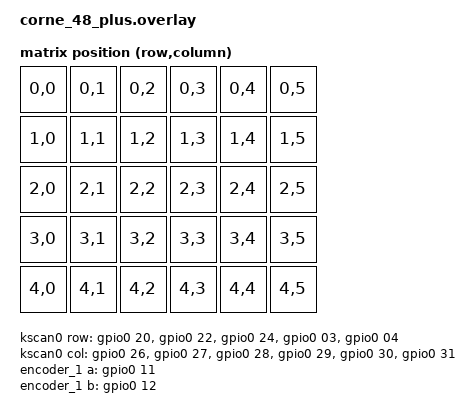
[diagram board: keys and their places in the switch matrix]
/*
 * Copyright (c) 2023 Your Name
 *
 * SPDX-License-Identifier: MIT
 */

#include <dt-bindings/zmk/matrix.h>
#include <dt-bindings/zmk/hid.h>
#include <dt-bindings/zmk/keys.h>
#include <dt-bindings/zmk/outputs.h> // For &out_bt &out_usb etc.
#include <dt-bindings/zmk/backlight.h> // For backlight behaviors like &bl_inc, &bl_dec, &bl_tog

/ {
    chosen {
        zmk,kscan = &kscan0;
        zmk,matrix_transform = &default_transform;
    };

    kscan0: kscan {
        compatible = "zmk,kscan-gpio-matrix";
        // Điều chỉnh diode-direction dựa trên PCB của bạn (COL2ROW hoặc ROW2COL)
        diode-direction = "col2row";

        // Các chân GPIO của nice!nano v2 (nRF52840)
        // Hãy chắc chắn rằng các chân này khớp với cách Corne Plus của bạn được nối dây
        col-gpios = <&gpio0 26 GPIO_ACTIVE_HIGH>, // P0.26 (Corne COL0)
                    <&gpio0 27 GPIO_ACTIVE_HIGH>, // P0.27 (Corne COL1)
                    <&gpio0 28 GPIO_ACTIVE_HIGH>, // P0.28 (Corne COL2)
                    <&gpio0 29 GPIO_ACTIVE_HIGH>, // P0.29 (Corne COL3)
                    <&gpio0 30 GPIO_ACTIVE_HIGH>, // P0.30 (Corne COL4)
                    <&gpio0 31 GPIO_ACTIVE_HIGH>; // P0.31 (Corne COL5)

        row-gpios = <&gpio0 20 (GPIO_ACTIVE_HIGH | GPIO_PULL_DOWN)>, // P0.20 (Corne ROW0)
                    <&gpio0 22 (GPIO_ACTIVE_HIGH | GPIO_PULL_DOWN)>, // P0.22 (Corne ROW1)
                    <&gpio0 24 (GPIO_ACTIVE_HIGH | GPIO_PULL_DOWN)>, // P0.24 (Corne ROW2)
                    <&gpio0 03 (GPIO_ACTIVE_HIGH | GPIO_PULL_DOWN)>, // P0.03 (Corne ROW3)
                    <&gpio0 04 (GPIO_ACTIVE_HIGH | GPIO_PULL_DOWN)>; // P0.04 (Corne ROW4)

        // Nếu bạn có thêm phím (ví dụ: 48 phím thay vì 42), bạn cần điều chỉnh matrix_transform
        // và có thể cả col-gpios/row-gpios nếu các phím đó nối vào các chân khác.
    };

    default_transform: keymap_transform {
        compatible = "zmk,matrix-transform";
        rows = <5>; // Số hàng
        columns = <6>; // Số cột
        map = <
            RC(0,0) RC(0,1) RC(0,2) RC(0,3) RC(0,4) RC(0,5)
            RC(1,0) RC(1,1) RC(1,2) RC(1,3) RC(1,4) RC(1,5)
            RC(2,0) RC(2,1) RC(2,2) RC(2,3) RC(2,4) RC(2,5)
            RC(3,0) RC(3,1) RC(3,2) RC(3,3) RC(3,4) RC(3,5)
            RC(4,0) RC(4,1) RC(4,2) RC(4,3) RC(4,4) RC(4,5)
        >;
    };

    // Encoder (nếu bạn có một encoder trên mỗi bên, bạn cần định nghĩa hai cái)
    // Các chân GPx là ví dụ, kiểm tra sơ đồ chân nice!nano v2 và PCB của bạn
    encoders {
        compatible = "zmk,encoders";
        encoder_1: encoder_1 {
            // Chân CLK và DT của encoder
            a-gpios = <&gpio0 11 (GPIO_ACTIVE_HIGH | GPIO_PULL_UP)>; // CLK
            b-gpios = <&gpio0 12 (GPIO_ACTIVE_HIGH | GPIO_PULL_UP)>; // DT
            steps = <4>; // Bước mỗi nấc (thường 4 cho encoder 24 xung/nấc)
            // Lưu ý: ZMK sẽ tự động xử lý nút nhấn encoder nếu nó là một nút ma trận bình thường.
            // Nếu nút nhấn encoder là một nút riêng biệt, bạn sẽ định nghĩa nó trong kscan.
        };
    };

    // Backlight LED (Đèn nền đơn sắc)
    // Chân GPIO cho đèn nền (thường là P0.00 cho nice!nano v2)
    leds {
        compatible = "gpio-leds";
        led_backlight: led_0 {
            gpios = <&gpio0 0 (GPIO_ACTIVE_HIGH | GPIO_PULL_UP)>; // P0.00 là pin mặc định của nice!nano v2
            label = "BACKLIGHT_LED";
        };
    };

    // Joystick (đây là phần phức tạp nhất để dịch từ QMK sang ZMK)
    // ZMK xử lý joystick analog qua ADC. Bạn cần biết chân ADC nào được sử dụng.
    // Ví dụ với 2 chân ADC cho trục X và Y
    // Bạn cần kiểm tra chân ADC trên nice!nano v2 và cách joystick được nối.
    aliases {
        adc_x_channel = &adc_channel_x;
        adc_y_channel = &adc_channel_y;
    };

    analog_inputs {
        compatible = "zmk,analog-input";
        adc_x_channel: channel_x {
            io-channel = <&adc 1>; // VD: ADC channel 1 (P0.29 trên nRF52840)
            label = "JOYSTICK_X";
        };
        adc_y_channel: channel_y {
            io-channel = <&adc 2>; // VD: ADC channel 2 (P0.30 trên nRF52840)
            label = "JOYSTICK_Y";
        };
    };
};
